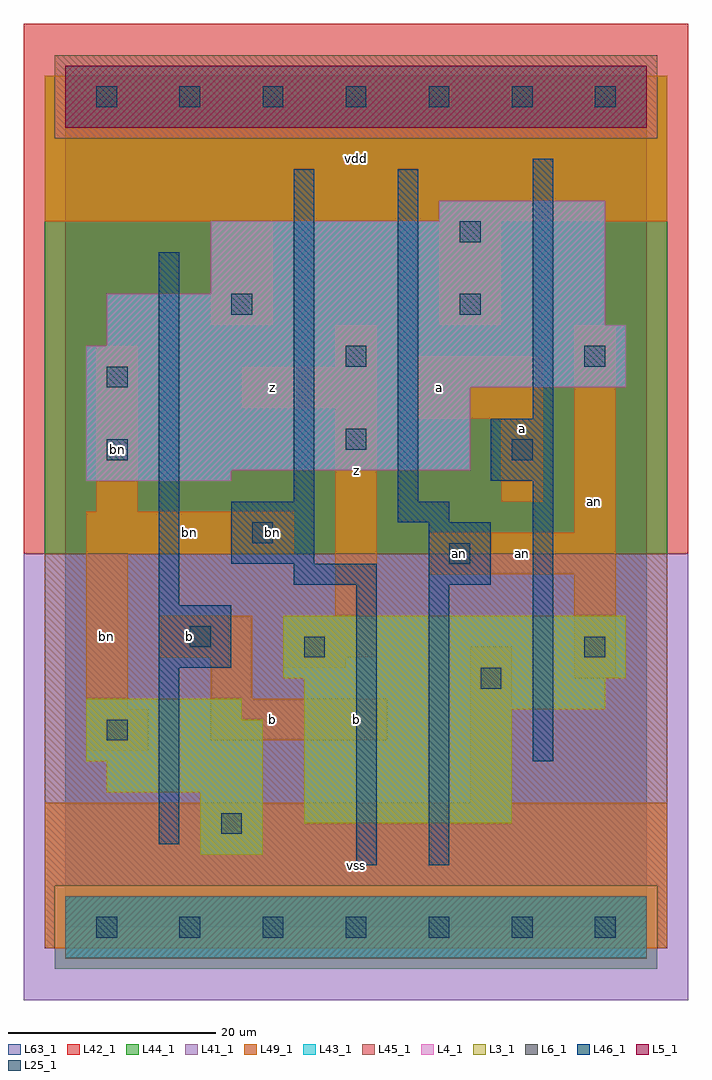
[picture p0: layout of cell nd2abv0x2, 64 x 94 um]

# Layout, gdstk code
import gdstk
lib = gdstk.Library(unit=1e-6, precision=1e-09)
def R(c, l, rs):  # rectangles x0, y0, x1, y1
    for r in rs: c.add(gdstk.rectangle(r[:2], r[2:], *l))
def A(c, l, x, y, w, h, nx, ny, dx, dy):  # array of equal rectangles
    R(c, l, [(x+i*dx, y+j*dy, x+i*dx+w, y+j*dy+h) for i in range(nx) for j in range(ny)])
L3_1 = (3, 1)
L4_1 = (4, 1)
L5_1 = (5, 1)
L6_1 = (6, 1)
L25_1 = (25, 1)
L41_1 = (41, 1)
L42_1 = (42, 1)
L43_1 = (43, 1)
L44_1 = (44, 1)
L45_1 = (45, 1)
L46_1 = (46, 1)
L49_1 = (49, 1)
L63_1 = (63, 1)

nd2abv0x2 = lib.new_cell('nd2abv0x2')
R(nd2abv0x2, L3_1, [(13,7,19,13), (23,10,43,21), (4,13,19,16), (2,16,19,20), (2,20,17,22), (23,21,52,24), (21,24,54,30)])
R(nd2abv0x2, L4_1, [(2,43,16,44), (2,44,39,52), (2,52,54,56), (4,56,54,58), (4,58,52,61), (14,61,52,68), (36,68,52,70)])
R(nd2abv0x2, L5_1, [(0,77,56,83)])
R(nd2abv0x2, L6_1, [(0,-3,56,3), (0,-3,56,3)])
A(nd2abv0x2, L25_1, 3, -1, 2, 2, 7, 2, 8, 80)
R(nd2abv0x2, L25_1, [(15,9,17,11), (4,18,6,20), (40,23,42,25), (23,26,25,28), (50,26,52,28), (12,27,14,29), (37,35,39,37), (18,37,20,39), (4,45,6,47), (43,45,45,47), (27,46,29,48), (4,52,6,54), (27,54,29,56), (50,54,52,56), (16,59,18,61), (38,59,40,61), (38,66,40,68)])
R(nd2abv0x2, L41_1, [(-4,-7,60,36)])
R(nd2abv0x2, L42_1, [(-4,36,60,87)])
R(nd2abv0x2, L43_1, [(0,-3,56,3), (13,7,19,13), (23,10,43,21), (4,13,19,16), (2,16,19,20), (2,20,17,22), (23,21,52,24), (21,24,54,30), (2,43,16,44), (2,44,39,52), (2,52,54,56), (4,56,54,58), (4,58,52,61), (14,61,52,68), (36,68,52,70), (0,77,56,83)])
R(nd2abv0x2, L44_1, [(-1,-4,57,4), (-2,36,58,76), (-2,76,-1,82), (57,76,58,82)])
R(nd2abv0x2, L45_1, [(-2,-2,-1,4), (57,-2,58,4), (-2,4,58,36), (-1,76,57,84)])
R(nd2abv0x2, L46_1, [(28,6,30,33), (35,6,37,33), (9,8,11,25), (45,16,47,43), (9,25,16,31), (9,31,11,65), (22,33,30,35), (35,33,41,39), (16,35,24,41), (32,39,37,41), (22,41,24,73), (32,41,34,73), (41,43,47,49), (45,49,47,74)])
R(nd2abv0x2, L49_1, [(-2,-2,58,12), (39,12,43,27), (2,17,8,21), (14,18,31,22), (2,21,6,36), (14,22,18,26), (49,24,53,34), (21,25,27,26), (9,26,18,30), (21,26,30,30), (26,30,30,50), (35,34,53,38), (2,36,22,40), (49,38,53,58), (3,40,7,56), (42,41,46,49), (34,49,46,55), (17,50,30,54), (26,54,30,58), (14,58,20,68), (36,58,42,68), (-2,68,58,82)])
R(nd2abv0x2, L63_1, [(0,0,56,80)])
nd2abv0x2.add(gdstk.Label('bn', (20,38), layer=49, texttype=1))
nd2abv0x2.add(gdstk.Label('an', (38,36), layer=49, texttype=1))
nd2abv0x2.add(gdstk.Label('bn', (5,46), layer=49, texttype=1))
nd2abv0x2.add(gdstk.Label('bn', (4,28), layer=49, texttype=1))
nd2abv0x2.add(gdstk.Label('b', (20,20), layer=49, texttype=1))
nd2abv0x2.add(gdstk.Label('b', (12,28), layer=49, texttype=1))
nd2abv0x2.add(gdstk.Label('bn', (12,38), layer=49, texttype=1))
nd2abv0x2.add(gdstk.Label('z', (20,52), layer=49, texttype=1))
nd2abv0x2.add(gdstk.Label('vss', (28,6), layer=49, texttype=1))
nd2abv0x2.add(gdstk.Label('b', (28,20), layer=49, texttype=1))
nd2abv0x2.add(gdstk.Label('z', (28,44), layer=49, texttype=1))
nd2abv0x2.add(gdstk.Label('a', (36,52), layer=49, texttype=1))
nd2abv0x2.add(gdstk.Label('vdd', (28,74), layer=49, texttype=1))
nd2abv0x2.add(gdstk.Label('an', (44,36), layer=49, texttype=1))
nd2abv0x2.add(gdstk.Label('an', (51,41), layer=49, texttype=1))
nd2abv0x2.add(gdstk.Label('a', (44,48), layer=49, texttype=1))

lib.write_gds('nd2abv0x2.gds')
